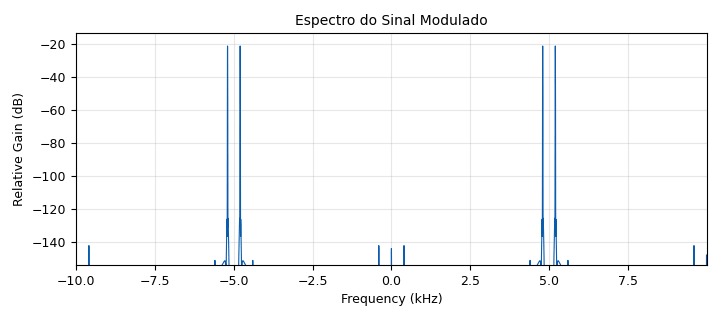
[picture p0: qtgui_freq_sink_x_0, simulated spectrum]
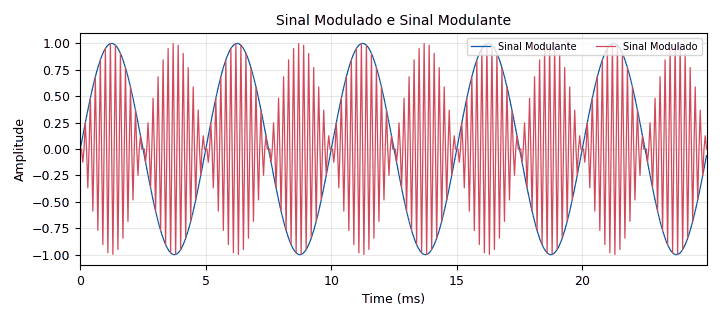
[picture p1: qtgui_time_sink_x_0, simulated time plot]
<?xml version='1.0' encoding='utf-8'?>
<?grc format='1' created='3.7.13'?>
<flow_graph>
<block>
<key>options</key>
<param><key>id</key><value>Labo3_1</value></param>
<param><key>category</key><value>Custom</value></param>
<param><key>generate_options</key><value>qt_gui</value></param>
<param><key>title</key><value>AM-DSB</value></param>
</block>
<block>
<key>variable_qtgui_range</key>
<param><key>id</key><value>A</value></param>
<param><key>value</key><value>0</value></param>
<param><key>gui_hint</key><value>1,0,1,1</value></param>
<param><key>label</key><value>Amp. Portadora</value></param>
<param><key>orient</key><value>Qt.Horizontal</value></param>
<param><key>start</key><value>0</value></param>
<param><key>step</key><value>0.1</value></param>
<param><key>stop</key><value>3</value></param>
</block>
<block>
<key>variable_qtgui_range</key>
<param><key>id</key><value>F</value></param>
<param><key>value</key><value>5000</value></param>
<param><key>gui_hint</key><value>2,0,1,1</value></param>
<param><key>label</key><value>Freq Portadora</value></param>
<param><key>orient</key><value>Qt.Horizontal</value></param>
<param><key>start</key><value>2000</value></param>
<param><key>step</key><value>200</value></param>
<param><key>stop</key><value>8000</value></param>
</block>
<block>
<key>variable</key>
<param><key>id</key><value>samp_rate</value></param>
<param><key>value</key><value>20000</value></param>
</block>
<block>
<key>analog_const_source_x</key>
<param><key>id</key><value>Amplitude_Portadora</value></param>
<param><key>const</key><value>A</value></param>
<param><key>type</key><value>float</value></param>
</block>
<block>
<key>analog_sig_source_x</key>
<param><key>id</key><value>Portadora</value></param>
<param><key>amp</key><value>1</value></param>
<param><key>freq</key><value>F</value></param>
<param><key>offset</key><value>0</value></param>
<param><key>type</key><value>float</value></param>
<param><key>samp_rate</key><value>samp_rate</value></param>
<param><key>waveform</key><value>analog.GR_COS_WAVE</value></param>
</block>
<block>
<key>analog_sig_source_x</key>
<param><key>id</key><value>Sinal_Modulante</value></param>
<param><key>amp</key><value>1</value></param>
<param><key>freq</key><value>200</value></param>
<param><key>offset</key><value>0</value></param>
<param><key>type</key><value>float</value></param>
<param><key>samp_rate</key><value>samp_rate</value></param>
<param><key>waveform</key><value>analog.GR_SIN_WAVE</value></param>
</block>
<block>
<key>blocks_add_xx</key>
<param><key>id</key><value>blocks_add_xx_0</value></param>
<param><key>type</key><value>float</value></param>
</block>
<block>
<key>blocks_multiply_xx</key>
<param><key>id</key><value>blocks_multiply_xx_0</value></param>
<param><key>type</key><value>float</value></param>
</block>
<block>
<key>blocks_throttle</key>
<param><key>id</key><value>blocks_throttle_0</value></param>
<param><key>samples_per_second</key><value>samp_rate</value></param>
<param><key>type</key><value>float</value></param>
</block>
<block>
<key>qtgui_freq_sink_x</key>
<param><key>id</key><value>qtgui_freq_sink_x_0</value></param>
<param><key>autoscale</key><value>True</value></param>
<param><key>bw</key><value>samp_rate</value></param>
<param><key>fc</key><value>0</value></param>
<param><key>fftsize</key><value>2**13</value></param>
<param><key>gui_hint</key><value>0,1,1,1</value></param>
<param><key>grid</key><value>True</value></param>
<param><key>name</key><value>Espectro do Sinal Modulado</value></param>
<param><key>showports</key><value>True</value></param>
<param><key>type</key><value>float</value></param>
<param><key>wintype</key><value>firdes.WIN_BLACKMAN_hARRIS</value></param>
</block>
<block>
<key>qtgui_time_sink_x</key>
<param><key>id</key><value>qtgui_time_sink_x_0</value></param>
<param><key>autoscale</key><value>True</value></param>
<param><key>gui_hint</key><value>0,0,1,1</value></param>
<param><key>grid</key><value>True</value></param>
<param><key>color1</key><value>"blue"</value></param>
<param><key>label1</key><value>Sinal Modulante</value></param>
<param><key>color2</key><value>"red"</value></param>
<param><key>label2</key><value>Sinal Modulado</value></param>
<param><key>name</key><value>Sinal Modulado e Sinal Modulante</value></param>
<param><key>nconnections</key><value>2</value></param>
<param><key>size</key><value>500</value></param>
<param><key>srate</key><value>samp_rate</value></param>
<param><key>tr_level</key><value>1</value></param>
<param><key>type</key><value>float</value></param>
<param><key>ymax</key><value>3</value></param>
<param><key>ymin</key><value>-3</value></param>
</block>
<connection><source_block_id>Amplitude_Portadora</source_block_id><sink_block_id>blocks_add_xx_0</sink_block_id><source_key>0</source_key><sink_key>1</sink_key></connection>
<connection><source_block_id>Portadora</source_block_id><sink_block_id>blocks_throttle_0</sink_block_id><source_key>0</source_key><sink_key>0</sink_key></connection>
<connection><source_block_id>Sinal_Modulante</source_block_id><sink_block_id>blocks_add_xx_0</sink_block_id><source_key>0</source_key><sink_key>0</sink_key></connection>
<connection><source_block_id>Sinal_Modulante</source_block_id><sink_block_id>qtgui_time_sink_x_0</sink_block_id><source_key>0</source_key><sink_key>0</sink_key></connection>
<connection><source_block_id>blocks_add_xx_0</source_block_id><sink_block_id>blocks_multiply_xx_0</sink_block_id><source_key>0</source_key><sink_key>0</sink_key></connection>
<connection><source_block_id>blocks_multiply_xx_0</source_block_id><sink_block_id>qtgui_freq_sink_x_0</sink_block_id><source_key>0</source_key><sink_key>0</sink_key></connection>
<connection><source_block_id>blocks_multiply_xx_0</source_block_id><sink_block_id>qtgui_time_sink_x_0</sink_block_id><source_key>0</source_key><sink_key>1</sink_key></connection>
<connection><source_block_id>blocks_throttle_0</source_block_id><sink_block_id>blocks_multiply_xx_0</sink_block_id><source_key>0</source_key><sink_key>1</sink_key></connection>
</flow_graph>
